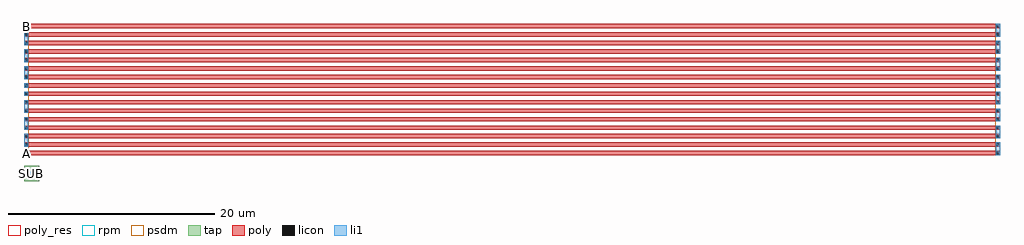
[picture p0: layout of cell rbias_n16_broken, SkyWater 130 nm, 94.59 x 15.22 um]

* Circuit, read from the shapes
.subckt rbias_n16_broken A B SUB
XR1 n1 A SUB sky130_fd_pr__res_high_po w=0.42 l=93.63
XR2 n1 n2 SUB sky130_fd_pr__res_high_po w=0.42 l=93.63
XR3 n3 n2 SUB sky130_fd_pr__res_high_po w=0.42 l=93.63
XR4 n3 n4 SUB sky130_fd_pr__res_high_po w=0.42 l=93.63
XR5 n5 n4 SUB sky130_fd_pr__res_high_po w=0.42 l=93.63
XR6 n5 n6 SUB sky130_fd_pr__res_high_po w=0.42 l=93.63
XR7 n7 n6 SUB sky130_fd_pr__res_high_po w=0.42 l=93.63
XR8 n7 n8 SUB sky130_fd_pr__res_high_po w=0.42 l=93.63
XR9 n9 n10 SUB sky130_fd_pr__res_high_po w=0.42 l=93.63
XR10 n9 n11 SUB sky130_fd_pr__res_high_po w=0.42 l=93.63
XR11 n12 n11 SUB sky130_fd_pr__res_high_po w=0.42 l=93.63
XR12 n12 n13 SUB sky130_fd_pr__res_high_po w=0.42 l=93.63
XR13 n14 n13 SUB sky130_fd_pr__res_high_po w=0.42 l=93.63
XR14 n14 n15 SUB sky130_fd_pr__res_high_po w=0.42 l=93.63
XR15 n16 n15 SUB sky130_fd_pr__res_high_po w=0.42 l=93.63
XR16 n16 B SUB sky130_fd_pr__res_high_po w=0.42 l=93.63
.ends

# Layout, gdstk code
import gdstk
lib = gdstk.Library(unit=1e-6, precision=1e-09)
def R(c, l, rs):  # rectangles x0, y0, x1, y1
    for r in rs: c.add(gdstk.rectangle(r[:2], r[2:], *l))
def A(c, l, x, y, w, h, nx, ny, dx, dy):  # array of equal rectangles
    R(c, l, [(x+i*dx, y+j*dy, x+i*dx+w, y+j*dy+h) for i in range(nx) for j in range(ny)])
tap = (65, 44)
poly_res = (66, 13)
poly = (66, 20)
licon = (66, 44)
li1 = (67, 20)
rpm = (86, 20)
psdm = (94, 20)

res_array = lib.new_cell('res_array')
A(res_array, poly_res, 0.42, 0, 93.75, 0.42, 1, 16, 0, 0.82)
A(res_array, poly, 0, 0, 94.59, 0.42, 1, 16, 0, 0.82)
A(res_array, licon, 0.1, 0.1, 0.22, 0.22, 1, 16, 0, 0.82)
A(res_array, licon, 94.27, 0.1, 0.22, 0.22, 1, 16, 0, 0.82)
A(res_array, li1, 0, 0, 0.42, 0.42, 1, 16, 0, 0.82)
A(res_array, li1, 94.17, 0, 0.42, 0.42, 1, 16, 0, 0.82)
A(res_array, rpm, 0.42, 0, 93.75, 0.42, 1, 16, 0, 0.82)
A(res_array, psdm, 0.42, 0, 93.75, 0.42, 1, 16, 0, 0.82)

rbias_n16_broken_bank = lib.new_cell('rbias_n16_broken_bank')
rbias_n16_broken_bank.add(gdstk.Reference(res_array, (0,0)))

rbias_n16_broken = lib.new_cell('rbias_n16_broken')
R(rbias_n16_broken, tap, [(0,-2.5,1.5,-1)])
R(rbias_n16_broken, licon, [(0.665,-1.835,0.835,-1.665)])
A(rbias_n16_broken, li1, 94.17, 0, 0.42, 1.24, 1, 8, 0, 1.64)
A(rbias_n16_broken, li1, 0, 0.82, 0.42, 1.24, 1, 3, 0, 1.64)
A(rbias_n16_broken, li1, 0, 7.38, 0.42, 1.24, 1, 3, 0, 1.64)
R(rbias_n16_broken, li1, [(0.54,-1.96,0.96,-1.54)])
R(rbias_n16_broken, rpm, [(0.42,0,94.17,12.72)])
R(rbias_n16_broken, psdm, [(0.42,0,94.17,12.72)])
rbias_n16_broken.add(gdstk.Reference(rbias_n16_broken_bank, (0,0)))
rbias_n16_broken.add(gdstk.Label('A', (0.21,0.21), layer=67, texttype=5))
rbias_n16_broken.add(gdstk.Label('B', (0.21,12.51), layer=67, texttype=5))
rbias_n16_broken.add(gdstk.Label('SUB', (0.75,-1.75), layer=67, texttype=5))

lib.write_gds('rbias_n16_broken.gds')
